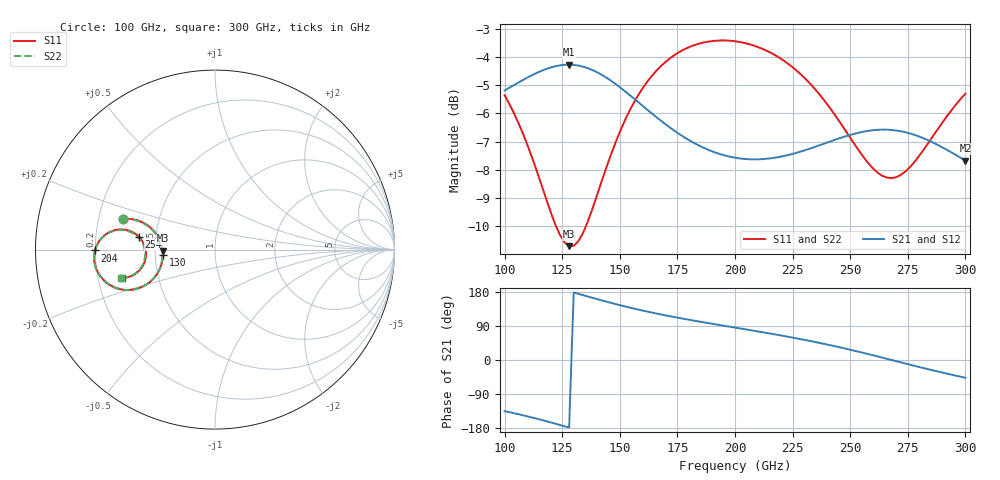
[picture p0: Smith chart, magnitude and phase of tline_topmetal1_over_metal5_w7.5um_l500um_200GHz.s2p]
#  GHZ S DB R 50
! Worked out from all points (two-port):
!   101 points, 100 GHz to 300 GHz, reference 50 ohm
!   highest |S21| = -4.27 dB at 128 GHz (marker M1); lowest = -7.7 dB at 300 GHz (marker M2)
!   |S21| within 3 dB of the highest: start of sweep to 188 GHz; 231.5 GHz to 291.6 GHz (60.13 GHz wide, 23 % of centre)
!   lowest |S11| = -10.7 dB at 128 GHz (marker M3), VSWR 1.82, Z = 27.4 - j0.398 ohm
!   |S11| at or under -10 dB: 122.4 GHz to 135.2 GHz (12.86 GHz wide, 9.98 % of centre)
!   |S22| runs from -10.6 to -3.4 dB; largest |S21 - S12| = 8.2e-15
!   S11 on the Smith chart (normalised r, x): 100 GHz: 0.31, +0.15; 130 GHz: 0.55, -0.04; 204 GHz: 0.20, -0.00; 254 GHz: 0.40, +0.07; 300 GHz: 0.30, -0.13
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100  -5.35 161.5  -5.18 -135.0  -5.18 -135.0  -5.34 161.7
108  -6.72 159.3  -4.82 -145.9  -4.82 -145.9  -6.70 159.6
114  -8.05 160.3  -4.56 -154.9  -4.56 -154.9  -8.02 160.6
122  -9.93 168.6  -4.33 -168.0  -4.33 -168.0  -9.89 168.9
128  -10.70 -178.7  -4.27 -178.3  -4.27 -178.3  -10.65 -178.5
130  -10.69 -173.9  -4.28 178.2  -4.28 178.2  -10.63 -173.8
134  -10.24 -165.1  -4.34 171.2  -4.34 171.2  -10.19 -165.0
142  -8.44 -154.7  -4.62 157.6  -4.62 157.6  -8.40 -154.7
150  -6.66 -153.0  -5.07 144.8  -5.07 144.8  -6.63 -153.0
158  -5.35 -155.4  -5.60 133.1  -5.60 133.1  -5.33 -155.3
168  -4.31 -160.5  -6.27 120.1  -6.27 120.1  -4.30 -160.4
184  -3.54 -169.3  -7.12 102.0  -7.12 102.0  -3.53 -169.2
200  -3.44 -177.6  -7.57 85.5  -7.57 85.5  -3.43 -177.4
204  -3.50 -179.6  -7.61 81.5  -7.61 81.5  -3.49 -179.3
218  -3.96 174.1  -7.56 66.9  -7.56 66.9  -3.94 174.4
234  -5.07 168.6  -7.20 48.4  -7.20 48.4  -5.04 169.0
244  -6.13 167.5  -6.92 35.5  -6.92 35.5  -6.08 168.0
254  -7.34 170.5  -6.68 21.3  -6.68 21.3  -7.27 170.9
268  -8.29 -176.9  -6.59 -0.0  -6.59 -0.0  -8.19 -176.7
276  -7.90 -168.9  -6.71 -12.4  -6.71 -12.4  -7.80 -168.9
286  -6.80 -163.3  -7.03 -27.5  -7.03 -27.5  -6.72 -163.4
300  -5.30 -163.2  -7.67 -46.8  -7.67 -46.8  -5.25 -163.3
